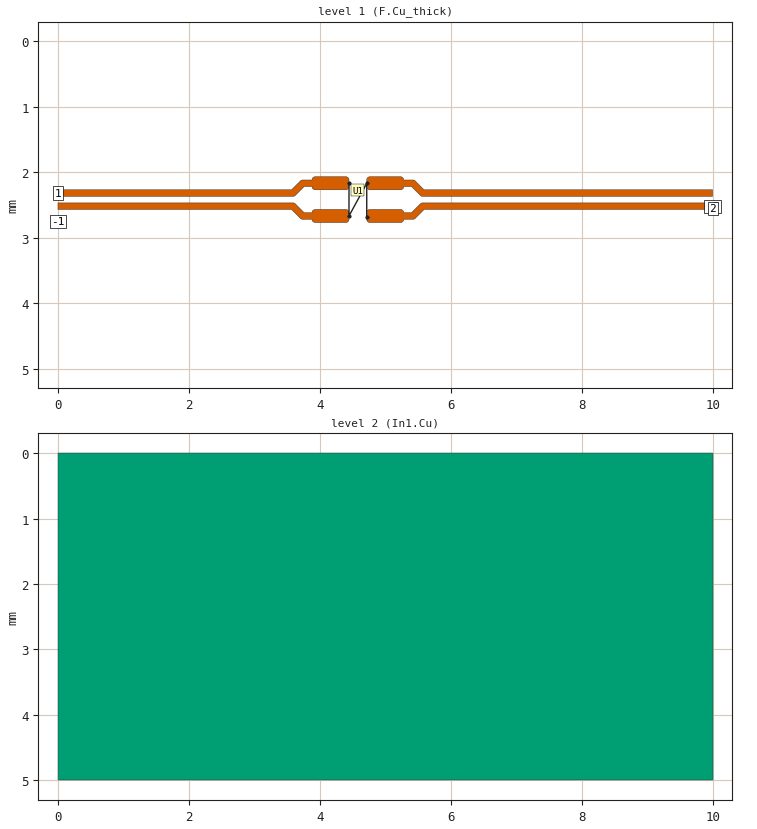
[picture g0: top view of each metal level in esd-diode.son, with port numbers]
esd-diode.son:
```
FTYP SONPROJ 19 ! Sonnet Project File
VER 18.56
HEADER
LIC antikernel2.1.65565
DAT 12/13/2024 02:23:05
BUILT_BY_CREATED xgeom 18.52 11/18/2021 20:28:07
BUILT_BY_SAVED sonnet 18.56
MDATE 12/13/2024 02:23:05
HDATE 12/13/2024 02:23:05
ANN Created by dxfgeo, Sonnet Software Inc.
END HEADER
DIM
ANG DEG
CAP PF
CON /OH
FREQ GHZ
IND NH
LNG MM
RES OH
END DIM
CONTROL
VARSWP
OPTIONS  -dj
SPEED 1
CACHE_ABS 2
Q_ACC N
END CONTROL
GEO
TMET "Free Space" 0 FREESPACE 376.7303136 0 0 0
BMET "Free Space" 0 FREESPACE 376.7303136 0 0 0
MET "Copper_1oz_thin" 1 NOR 58000000 0.5 0.035 
MET "Copper_1oz_thick" 2 TMM 58000000 0.5 0.035 2
MET "Copper_1oz_thick_down" 3 TMM 58000000 0.5 0.035 2 CDVY TDWN
MET "Copper_0.5oz_thin" 4 NOR 58000000 0.5 0.017 
MET "Copper_0.5oz_thick" 12 TMM 58000000 0.5 0.017 2
MET "Copper_0.5oz_thick_down" 5 TMM 58000000 0.5 0.017 2 CDVY TDWN
BOX 12 10 5 2000 1000 20 0
      5 1 1 0 0 0 0 "Air"
      0.04 3.5 1 0.025 0 0 0 "Soldermask"
      0.076 4.49 1 0.016 0 0 0 "Shengyi_S1000-2M"
      0.1 4.49 1 0.016 0 0 0 "Shengyi_S1000-2M"
      0.119 4.49 1 0.016 0 0 0 "Shengyi_S1000-2M"
      0.1 4.49 1 0.016 0 0 0 "Shengyi_S1000-2M"
      0.5 4.49 1 0.016 0 0 0 "Shengyi_S1000-2M"
      0.1 4.49 1 0.016 0 0 0 "Shengyi_S1000-2M"
      0.119 4.49 1 0.016 0 0 0 "Shengyi_S1000-2M"
      0.1 4.49 1 0.016 0 0 0 "Shengyi_S1000-2M"
      0.076 4.49 1 0.016 0 0 0 "Shengyi_S1000-2M"
      0.04 3.5 1 0.025 0 0 0 "Soldermask"
      5 1 1 0 0 0 0 "Air"
TECHLAY METAL F.Cu_thick L1D0 -2 -65534 CAD F.Cu_thick drawing 
1 0 1 N 123 1 1 100 100 0 0 0 Y
END
END
TECHLAY VIA Via1 <UNSPECIFIED> -13 -65534 CAD Via1 drawing 
VIA POLYGON
1 0 -1 N 257 1 1 100 100 0 0 0 Y
TOLEVEL 10 RING NOCOVERS
END
END
TECHLAY METAL F.Cu_thin <UNSPECIFIED> -1 -65534 CAD F.Cu_thin drawing 
1 0 0 N 127 1 1 100 100 0 0 0 Y
END
END
TECHLAY METAL In1.Cu <UNSPECIFIED> -3 -65534 CAD In1.Cu drawing 
2 0 0 N 130 1 1 100 100 0 0 0 Y
END
END
TECHLAY METAL In2.Cu_thick <UNSPECIFIED> -5 -65534 CAD In2.Cu_thick drawing 
3 0 4 N 133 1 1 100 100 0 0 0 Y
END
END
TECHLAY METAL In2.Cu_thin <UNSPECIFIED> -4 -65534 CAD In2.Cu drawing 
3 0 3 N 135 1 1 100 100 0 0 0 Y
END
END
TECHLAY METAL In3.Cu <UNSPECIFIED> -6 -65534 CAD In3.Cu drawing 
4 0 0 N 138 1 1 100 100 0 0 0 Y
END
END
TECHLAY METAL In4.Cu <UNSPECIFIED> -7 -65534 CAD In4.Cu drawing 
5 0 0 N 141 1 1 100 100 0 0 0 Y
END
END
TECHLAY METAL In5.Cu <UNSPECIFIED> -14 -65534 
6 0 0 N 144 1 1 100 100 0 0 0 Y
END
END
TECHLAY METAL In6.Cu <UNSPECIFIED> -15 -65534 
7 0 0 N 147 1 1 100 100 0 0 0 Y
END
END
TECHLAY METAL In7.Cu_thick <UNSPECIFIED> -9 -65534 CAD In5.Cu_thick drawing 
8 0 5 N 150 1 1 100 100 0 0 0 Y
END
END
TECHLAY METAL In7.Cu_thin <UNSPECIFIED> -8 -65534 CAD In5.Cu drawing 
8 0 3 N 152 1 1 100 100 0 0 0 Y
END
END
TECHLAY METAL In8.Cu <UNSPECIFIED> -10 -65534 CAD In6.Cu drawing 
9 0 0 N 155 1 1 100 100 0 0 0 Y
END
END
TECHLAY METAL B.Cu_thick <UNSPECIFIED> -12 -65534 CAD B.Cu_thick drawing 
10 0 2 N 158 1 1 100 100 0 0 0 Y
END
END
TECHLAY METAL B.Cu_thin <UNSPECIFIED> -11 -65534 CAD B.Cu_thin drawing 
10 0 0 N 160 1 1 100 100 0 0 0 Y
END
END
VALVAR CORE_ER NONE "table1(\"../../../sata-sniffer/sims/core_er.csv\",FREQ)" "Variable set in material file"
VALVAR CORE_DF NONE "table1(\"../../../sata-sniffer/sims/core_df.csv\",FREQ)" "Variable set in material file"
VALVAR PREPREG_DF NONE "table1(\"../../../sata-sniffer/sims/prepreg_df.csv\",FREQ)" "Variable set in material file"
VALVAR PREPREG_ER NONE "table1(\"../../../sata-sniffer/sims/prepreg_er.csv\",FREQ)" "Variable set in material file"
VALVAR WIDTH LNG 0.1 "Dim. Param."
LORGN 0 5 U 
POR1 BOX
POLY 104 1
32
1 100 0 0 0 0 2.32 
POR1 BOX
POLY 105 1
34
-1 100 0 0 0 0 2.52 
POR1 BOX
POLY 106 1
67
-2 100 0 0 0 10 2.52 
POR1 BOX
POLY 107 1
67
2 100 0 0 0 10 2.32 
SMD 1 "U1"
ID 266
GNDREF POLY
SBOX 4.51375 4.64925 2.35725 2.49275
PBSHW Y
LPOS 4.5815 2.35725
TYPE SPARAM 1
SMDP 1 4.446 2.17 L 3 1 
EXSMDP
GNDREF POLY AUTO
TERMW FEED
END EXSMDP
SMDP 1 4.446 2.67 L 4 2 
EXSMDP
GNDREF POLY AUTO
TERMW FEED
END EXSMDP
SMDP 1 4.717 2.17 R 5 3 
EXSMDP
GNDREF POLY AUTO
TERMW FEED
END EXSMDP
SMDP 1 4.717 2.68 R 6 4 
EXSMDP
GNDREF POLY AUTO
TERMW FEED
END EXSMDP
END
NUM 5
1 67 1 N 104 1 1 100 100 0 0 0 Y
TLAYNAM F.Cu_thick INH
4.446 2.227
4.444 2.237
4.442 2.241
4.439 2.246
4.437 2.25
4.434 2.254
4.422 2.263
4.418 2.265
4.413 2.267
4.409 2.269
4.404 2.269
4.399 2.27
3.929 2.27
3.924 2.269
3.919 2.269
3.915 2.267
3.91 2.265
3.906 2.263
3.894 2.254
3.891 2.25
3.889 2.246
3.886 2.241
3.884 2.237
3.882 2.227
3.882 2.22
3.761 2.22
3.624 2.357
3.616 2.363
3.611 2.365
3.607 2.367
3.602 2.369
3.597 2.37
0 2.37
0 2.27
3.569 2.27
3.706 2.133
3.714 2.127
3.719 2.125
3.723 2.123
3.728 2.121
3.733 2.12
3.882 2.12
3.882 2.113
3.884 2.103
3.886 2.099
3.889 2.094
3.891 2.09
3.894 2.086
3.906 2.077
3.91 2.075
3.915 2.073
3.919 2.071
3.924 2.071
3.929 2.07
4.399 2.07
4.404 2.071
4.409 2.071
4.413 2.073
4.418 2.075
4.422 2.077
4.434 2.086
4.437 2.09
4.439 2.094
4.442 2.099
4.444 2.103
4.446 2.113
4.446 2.227
END
1 69 1 N 105 1 1 100 100 0 0 0 Y
TLAYNAM F.Cu_thick INH
4.446 2.727
4.444 2.737
4.442 2.741
4.439 2.746
4.437 2.75
4.434 2.754
4.422 2.763
4.418 2.765
4.413 2.767
4.409 2.769
4.404 2.769
4.399 2.77
3.929 2.77
3.924 2.769
3.919 2.769
3.915 2.767
3.91 2.765
3.906 2.763
3.894 2.754
3.891 2.75
3.889 2.746
3.886 2.741
3.884 2.737
3.882 2.727
3.882 2.72
3.733 2.72
3.728 2.719
3.723 2.717
3.719 2.715
3.714 2.713
3.71 2.71
3.707 2.707
3.706 2.707
3.569 2.57
0 2.57
0 2.47
3.597 2.47
3.602 2.471
3.607 2.473
3.611 2.475
3.616 2.477
3.624 2.483
3.761 2.62
3.882 2.62
3.882 2.613
3.884 2.603
3.886 2.599
3.889 2.594
3.891 2.59
3.894 2.586
3.906 2.577
3.91 2.575
3.915 2.573
3.919 2.571
3.924 2.571
3.929 2.57
4.399 2.57
4.404 2.571
4.409 2.571
4.413 2.573
4.418 2.575
4.422 2.577
4.434 2.586
4.437 2.59
4.439 2.594
4.442 2.599
4.444 2.603
4.446 2.613
4.446 2.727
END
1 69 1 N 106 1 1 100 100 0 0 0 Y
TLAYNAM F.Cu_thick INH
10 2.57
5.593 2.57
5.463 2.7
5.46 2.704
5.456 2.707
5.453 2.71
5.448 2.713
5.44 2.717
5.435 2.719
5.43 2.72
5.281 2.72
5.281 2.727
5.279 2.737
5.277 2.741
5.274 2.746
5.272 2.75
5.269 2.754
5.257 2.763
5.253 2.765
5.248 2.767
5.244 2.769
5.239 2.769
5.234 2.77
4.764 2.77
4.759 2.769
4.754 2.769
4.75 2.767
4.745 2.765
4.741 2.763
4.729 2.754
4.726 2.75
4.724 2.746
4.721 2.741
4.719 2.737
4.717 2.727
4.717 2.613
4.719 2.603
4.721 2.599
4.724 2.594
4.726 2.59
4.729 2.586
4.741 2.577
4.745 2.575
4.75 2.573
4.754 2.571
4.759 2.571
4.764 2.57
5.234 2.57
5.239 2.571
5.244 2.571
5.248 2.573
5.253 2.575
5.257 2.577
5.269 2.586
5.272 2.59
5.274 2.594
5.277 2.599
5.279 2.603
5.281 2.613
5.281 2.62
5.401 2.62
5.538 2.483
5.546 2.477
5.551 2.475
5.555 2.473
5.56 2.471
5.565 2.47
10 2.47
10 2.57
END
1 69 1 N 107 1 1 100 100 0 0 0 Y
TLAYNAM F.Cu_thick INH
10 2.37
5.565 2.37
5.56 2.369
5.555 2.367
5.551 2.365
5.546 2.363
5.538 2.357
5.401 2.22
5.281 2.22
5.281 2.227
5.279 2.237
5.277 2.241
5.274 2.246
5.272 2.25
5.269 2.254
5.257 2.263
5.253 2.265
5.248 2.267
5.244 2.269
5.239 2.269
5.234 2.27
4.764 2.27
4.759 2.269
4.754 2.269
4.75 2.267
4.745 2.265
4.741 2.263
4.729 2.254
4.726 2.25
4.724 2.246
4.721 2.241
4.719 2.237
4.717 2.227
4.717 2.113
4.719 2.103
4.721 2.099
4.724 2.094
4.726 2.09
4.729 2.086
4.741 2.077
4.745 2.075
4.75 2.073
4.754 2.071
4.759 2.071
4.764 2.07
5.234 2.07
5.239 2.071
5.244 2.071
5.248 2.073
5.253 2.075
5.257 2.077
5.269 2.086
5.272 2.09
5.274 2.094
5.277 2.099
5.279 2.103
5.281 2.113
5.281 2.12
5.43 2.12
5.435 2.121
5.44 2.123
5.448 2.127
5.453 2.13
5.456 2.133
5.46 2.136
5.463 2.14
5.593 2.27
10 2.27
10 2.37
END
2 5 0 N 239 1 1 100 100 0 0 0 Y
TLAYNAM In1.Cu INH
0 0
10 0
10 5
0 5
0 0
END
END GEO
OPT
MAX 100
END OPT
VARSWP
ENABLED Y
FREQ Y AY ABS_ENTRY 0.01 8.0 -1 300 
END
END VARSWP
SMDFILES
1 "../../../../../../../bulk/datasheets/TI/ESD/ESD224.s4p"
END SMDFILES
```
